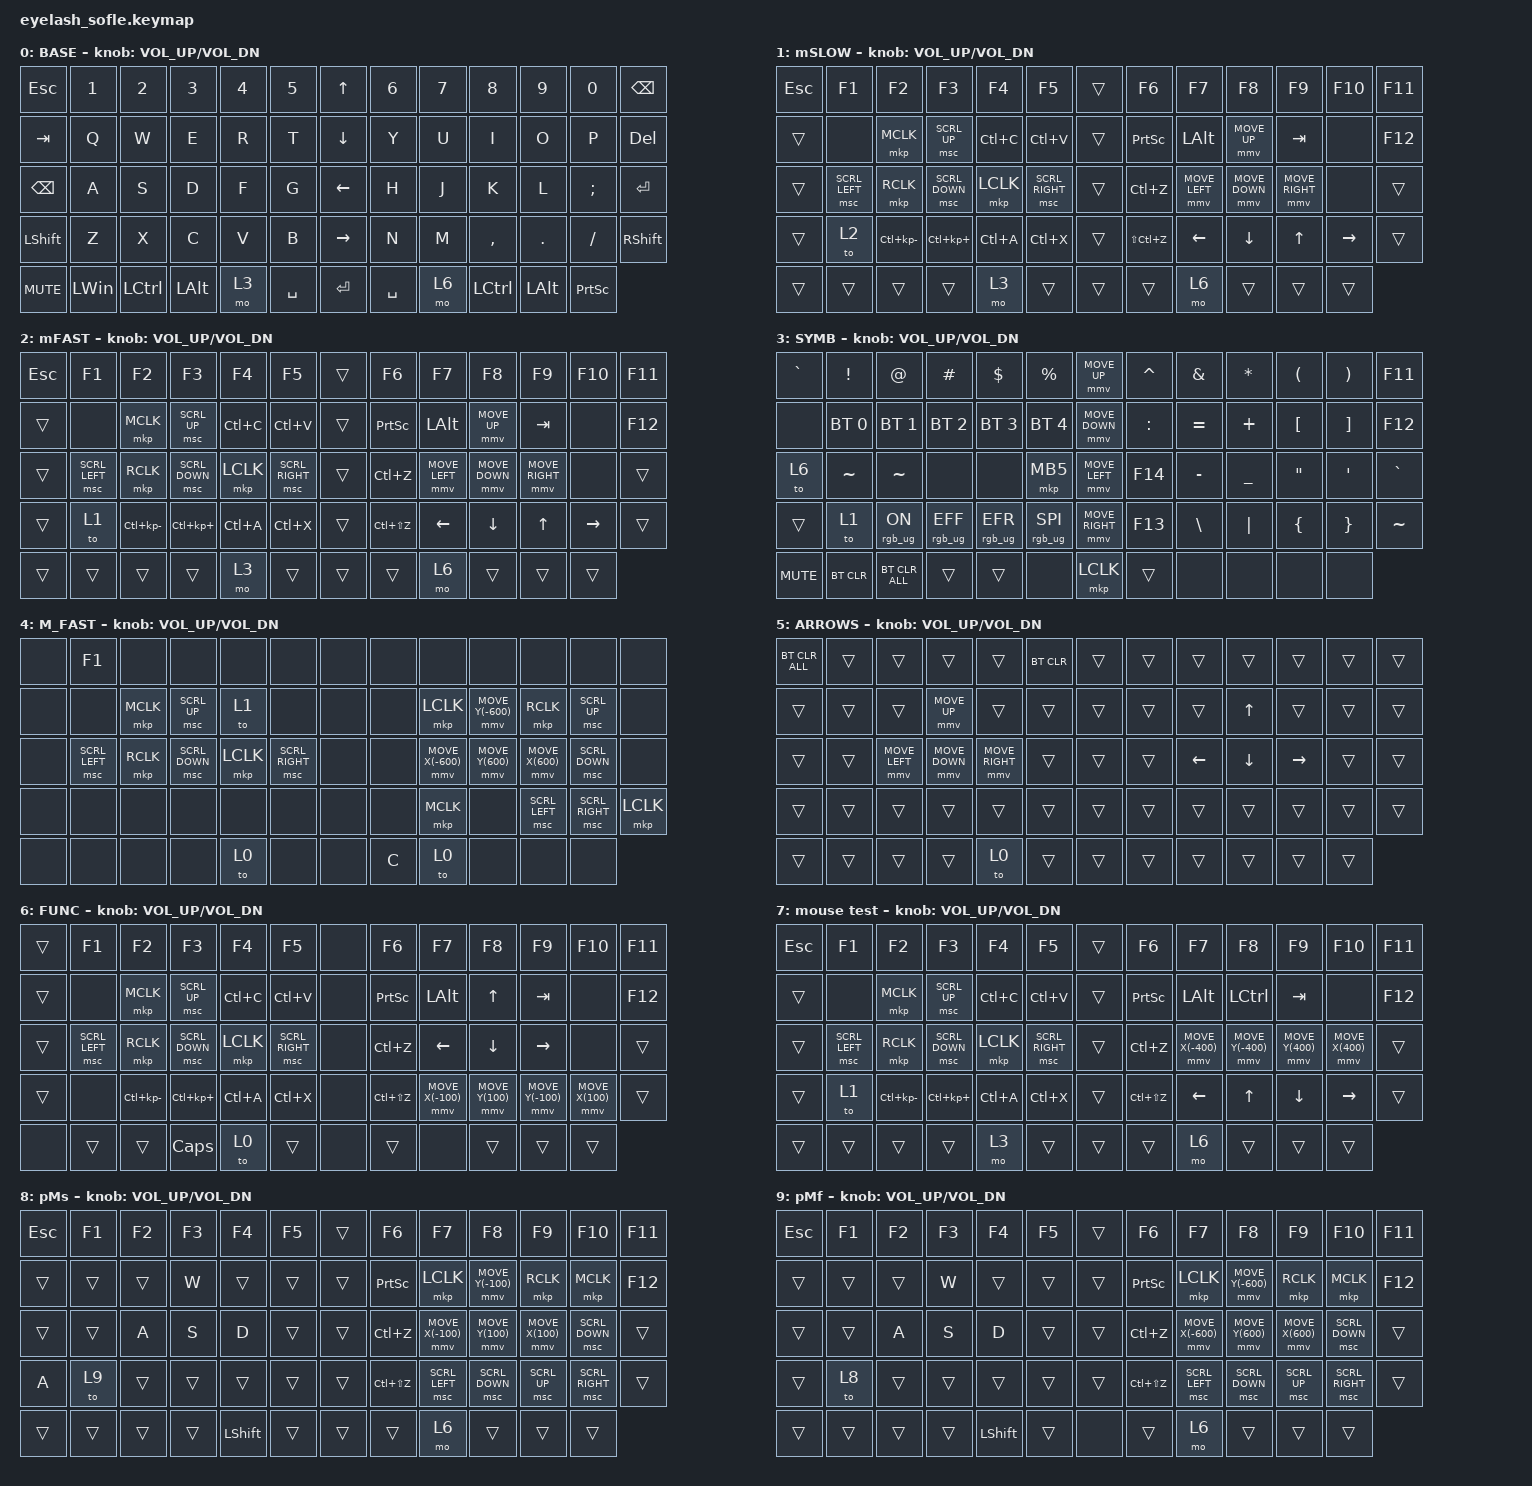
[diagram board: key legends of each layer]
#define ZMK_POINTING_DEFAULT_MOVE_VAL 1200  // 600
#define ZMK_POINTING_DEFAULT_SCRL_VAL 35    // 10

#include <input/processors.dtsi>
#include <zephyr/dt-bindings/input/input-event-codes.h>
#include <behaviors.dtsi>
#include <dt-bindings/zmk/bt.h>
#include <dt-bindings/zmk/keys.h>
#include <dt-bindings/zmk/pointing.h>
#include <dt-bindings/zmk/rgb.h>

/ {
    zip_scroll_scaler: zip_scroll_scaler {
        compatible = "zmk,input-processor-scaler";
        #input-processor-cells = <2>;
        type = <INPUT_EV_REL>;
        codes = <INPUT_REL_WHEEL INPUT_REL_HWHEEL>;
        track-remainders;
    };
};

&mmv_input_listener {
    /* 레이어 1, 8일 때는 1/5로 줄여라! */

    layer_slow {
        layers = <1 8>;
        input-processors = <&zip_xy_scaler 1 5>;
    };

    /* 레이어 2, 9일 때는 3/2(1.5배)로 늘려라! */

    layer_fast {
        layers = <2 9>;
        input-processors = <&zip_xy_scaler 3 2>;
    };
};

&msc_input_listener { input-processors = <&zip_scroll_scaler 1 1>; };

&msc {
    acceleration-exponent = <2>;      // 0
    time-to-max-speed-ms = <50>;       // 300
    delay-ms = <0>;                   // 0
};

&mmv {
    time-to-max-speed-ms = <0>;
    acceleration-exponent = <2>;
};

/ {
    scroll_encoder: scroll_encoder {
        compatible = "zmk,behavior-sensor-rotate";
        #sensor-binding-cells = <0>;
        bindings = <&msc SCRL_DOWN>, <&msc SCRL_UP>;

        tap-ms = <30>;
    };

    behaviors {
        /*han_eng_mo3: behavior_macro {
            label = "한/영 + MO3";
            compatible = "zmk,behavior-macro";
            #binding-cells = <0>;
    
            bindings = <
                &macro_tap
                    &forceeng        // forceeng 매크로 실행
                &macro_press
                    &mo 3            // 키를 누르는 동안 layer 3 활성화
                &macro_release
                    &to 0    // 떼면 layer 3 비활성화
            >;
        };*/

        han_eng_mo3_2: behavior_macro {
            compatible = "zmk,behavior-macro";
            #binding-cells = <0>;
            bindings = <&forceeng &mo 3>;
            tap-ms = <0>;
        };
    };

    combos {
        compatible = "zmk,combos";

        zge {
            bindings = <&to 1>;
            key-positions = <40 28>;
            layers = <0>;
            timeout-ms = <65>;
        };

        ragekl {
            bindings = <&to 0>;
            key-positions = <40 28>;
            layers = <1 2 5>;
            timeout-ms = <65>;
        };

        copyofbir {
            bindings = <&kp RIGHT_ALT>;
            key-positions = <36 50>;
            timeout-ms = <65>;
        };

        rev {
            bindings = <&kp RIGHT_ALT>;
            key-positions = <36 50>;
            timeout-ms = <65>;
        };

        testimz {
            bindings = <&to 1>;
            key-positions = <40 56>;
            timeout-ms = <65>;
            layers = <0>;
        };

        testim2 {
            bindings = <&to 0>;
            key-positions = <40 56>;
            timeout-ms = <65>;
            layers = <1 2 5>;
        };

        hanyung {
            bindings = <&kp RIGHT_ALT>;
            key-positions = <59 51>;
        };

        hy {
            bindings = <&kp RIGHT_ALT>;
            key-positions = <56 39>;
        };

        hy2 {
            bindings = <&kp RIGHT_ALT>;
            key-positions = <39 57>;
        };

        hanyung2 {
            bindings = <&kp RIGHT_ALT>;
            key-positions = <51 60>;
        };

        utale {
            bindings = <&to 8>;
            key-positions = <40 28 29>;
            layers = <0>;
        };

        tester {
            bindings = <&to 0>;
            key-positions = <40 28 29>;
            layers = <8 9>;
        };

        dot2 {
            bindings = <&kp F16>;
            key-positions = <49 50>;
        };

        random {
            bindings = <&to 1>;
            key-positions = <40 28>;
            layers = <8 9>;
        };

        mnot {
            bindings = <&to 8>;
            key-positions = <40 28 29>;
            layers = <1 2>;
        };
    };

    macros {
        zoomIn: new_macro {
            compatible = "zmk,behavior-macro";
            #binding-cells = <0>;
            bindings = <&kp LEFT_CONTROL &kp PLUS>;
            label = "NEW_MACRO";
        };

        zoomOut: zoomOut {
            compatible = "zmk,behavior-macro";
            #binding-cells = <0>;
            bindings = <&kp LEFT_CONTROL &kp MINUS>;
            label = "ZOOMOUT";
        };

        copy: copy {
            compatible = "zmk,behavior-macro";
            #binding-cells = <0>;
            bindings = <&kp LEFT_CONTROL &kp C>;
            label = "COPY";
        };

        paste: paste {
            compatible = "zmk,behavior-macro";
            #binding-cells = <0>;
            bindings = <&kp LEFT_CONTROL &kp V>;
            label = "PASTE";
        };

        cut: cut {
            compatible = "zmk,behavior-macro";
            #binding-cells = <0>;
            bindings = <&kp LEFT_CONTROL &kp X>;
            label = "CUT";
        };

        selectAll: selectAll {
            compatible = "zmk,behavior-macro";
            #binding-cells = <0>;
            bindings = <&kp LEFT_CONTROL &kp A>;
            label = "SELECTALL";
        };

        forceeng: forceeng {
            compatible = "zmk,behavior-macro";
            #binding-cells = <0>;
            bindings = <&kp LS(LA(LC(J)))>;
            label = "FORCEENG";
        };
    };

    keymap {
        compatible = "zmk,keymap";

        layer_0 {
            bindings = <
&kp ESC        &kp N1        &kp N2            &kp N3        &kp N4  &kp N5       &kp UP_ARROW     &kp N6     &kp N7  &kp N8            &kp N9        &kp N0           &kp BACKSPACE
&kp TAB        &kp Q         &kp W             &kp E         &kp R   &kp T        &kp DOWN_ARROW   &kp Y      &kp U   &kp I             &kp O         &kp P            &kp DELETE
&kp BACKSPACE  &kp A         &kp S             &kp D         &kp F   &kp G        &kp LEFT_ARROW   &kp H      &kp J   &kp K             &kp L         &kp SEMI         &kp ENTER
&kp LSHFT      &kp Z         &kp X             &kp C         &kp V   &kp B        &kp RIGHT_ARROW  &kp N      &kp M   &kp COMMA         &kp DOT       &kp FSLH         &kp RIGHT_SHIFT
&kp C_MUTE     &kp LEFT_WIN  &kp LEFT_CONTROL  &kp LEFT_ALT  &mo 3   &kp SPACE    &kp ENTER        &kp SPACE  &mo 6   &kp LEFT_CONTROL  &kp LEFT_ALT  &kp PRINTSCREEN
            >;

            sensor-bindings = <&inc_dec_kp C_VOL_UP C_VOL_DN>;
            display-name = "BASE";
        };

        layer_1 {
            bindings = <
&kp ESCAPE  &kp F1          &kp F2            &kp F3           &kp F4     &kp F5             &trans  &kp F6           &kp F7          &kp F8          &kp F9           &kp F10    &kp F11
&trans      &none           &mkp MCLK         &msc SCRL_UP     &kp LC(C)  &kp LC(V)          &trans  &kp PRINTSCREEN  &kp LEFT_ALT    &mmv MOVE_UP    &kp TAB          &none      &kp F12
&trans      &msc SCRL_LEFT  &mkp RCLK         &msc SCRL_DOWN   &mkp LCLK  &msc SCRL_RIGHT    &trans  &kp LC(Z)        &mmv MOVE_LEFT  &mmv MOVE_DOWN  &mmv MOVE_RIGHT  &none      &trans
&trans      &to 2           &kp LC(KP_MINUS)  &kp LC(KP_PLUS)  &kp LC(A)  &kp LC(X)          &trans  &kp LS(LC(Z))    &kp LEFT        &kp DOWN        &kp UP           &kp RIGHT  &trans
&trans      &trans          &trans            &trans           &mo 3      &trans             &trans  &trans           &mo 6           &trans          &trans           &trans
            >;

            display-name = "mSLOW";
            sensor-bindings = <&inc_dec_kp C_VOL_UP C_VOL_DN>;
        };

        layer_2 {
            bindings = <
&kp ESC  &kp F1          &kp F2            &kp F3           &kp F4     &kp F5             &trans  &kp F6           &kp F7          &kp F8          &kp F9           &kp F10    &kp F11
&trans   &none           &mkp MCLK         &msc SCRL_UP     &kp LC(C)  &kp LC(V)          &trans  &kp PRINTSCREEN  &kp LEFT_ALT    &mmv MOVE_UP    &kp TAB          &none      &kp F12
&trans   &msc SCRL_LEFT  &mkp RCLK         &msc SCRL_DOWN   &mkp LCLK  &msc SCRL_RIGHT    &trans  &kp LC(Z)        &mmv MOVE_LEFT  &mmv MOVE_DOWN  &mmv MOVE_RIGHT  &none      &trans
&trans   &to 1           &kp LC(KP_MINUS)  &kp LC(KP_PLUS)  &kp LC(A)  &kp LC(X)          &trans  &kp LC(LS(Z))    &kp LEFT        &kp DOWN        &kp UP           &kp RIGHT  &trans
&trans   &trans          &trans            &trans           &mo 3      &trans             &trans  &trans           &mo 6           &trans          &trans           &trans
            >;

            display-name = "mFAST";
            sensor-bindings = <&inc_dec_kp C_VOL_UP C_VOL_DN>;
        };

        layer_3 {
            bindings = <
&kp GRAVE   &kp EXCLAMATION  &kp AT_SIGN     &kp HASH         &kp DOLLAR       &kp PERCENT        &mmv MOVE_UP     &kp CARET  &kp AMPERSAND  &kp ASTERISK    &kp LEFT_PARENTHESIS  &kp RIGHT_PARENTHESIS  &kp F11
&none       &bt BT_SEL 0     &bt BT_SEL 1    &bt BT_SEL 2     &bt BT_SEL 3     &bt BT_SEL 4       &mmv MOVE_DOWN   &kp COLON  &kp EQUAL      &kp PLUS        &kp LEFT_BRACKET      &kp RIGHT_BRACKET      &kp F12
&to 6       &kp TILDE        &kp TILDE       &none            &none            &mkp MB5           &mmv MOVE_LEFT   &kp F14    &kp MINUS      &kp UNDERSCORE  &kp DOUBLE_QUOTES     &kp SINGLE_QUOTE       &kp GRAVE
&trans      &to 1            &rgb_ug RGB_ON  &rgb_ug RGB_EFF  &rgb_ug RGB_EFR  &rgb_ug RGB_SPI    &mmv MOVE_RIGHT  &kp F13    &kp BACKSLASH  &kp PIPE        &kp LEFT_BRACE        &kp RIGHT_BRACE        &kp TILDE
&kp C_MUTE  &bt BT_CLR       &bt BT_CLR_ALL  &trans           &trans           &none              &mkp LCLK        &trans     &none          &none           &none                 &none
            >;

            display-name = "SYMB";
            sensor-bindings = <&inc_dec_kp C_VOL_UP C_VOL_DN>;
        };

        layer_4 {
            bindings = <
&none  &kp F1          &none      &none           &none      &none              &none  &none  &none              &none              &none             &none            &none
&none  &none           &mkp MCLK  &msc SCRL_UP    &to 1      &none              &none  &none  &mkp LCLK          &mmv MOVE_Y(-600)  &mkp RCLK         &msc SCRL_UP     &none
&none  &msc SCRL_LEFT  &mkp RCLK  &msc SCRL_DOWN  &mkp LCLK  &msc SCRL_RIGHT    &none  &none  &mmv MOVE_X(-600)  &mmv MOVE_Y(600)   &mmv MOVE_X(600)  &msc SCRL_DOWN   &none
&none  &none           &none      &none           &none      &none              &none  &none  &mkp MCLK          &none              &msc SCRL_LEFT    &msc SCRL_RIGHT  &mkp LCLK
&none  &none           &none      &none           &to 0      &none              &none  &kp C  &to 0              &none              &none             &none
            >;

            display-name = "M_FAST";
            sensor-bindings = <&inc_dec_kp C_VOL_UP C_VOL_DN>;
        };

        layer_5 {
            bindings = <
&bt BT_CLR_ALL  &trans  &trans          &trans          &trans           &bt BT_CLR    &trans  &trans  &trans    &trans    &trans     &trans  &trans
&trans          &trans  &trans          &mmv MOVE_UP    &trans           &trans        &trans  &trans  &trans    &kp UP    &trans     &trans  &trans
&trans          &trans  &mmv MOVE_LEFT  &mmv MOVE_DOWN  &mmv MOVE_RIGHT  &trans        &trans  &trans  &kp LEFT  &kp DOWN  &kp RIGHT  &trans  &trans
&trans          &trans  &trans          &trans          &trans           &trans        &trans  &trans  &trans    &trans    &trans     &trans  &trans
&trans          &trans  &trans          &trans          &to 0            &trans        &trans  &trans  &trans    &trans    &trans     &trans
            >;

            display-name = "ARROWS";
            sensor-bindings = <&inc_dec_kp C_VOL_UP C_VOL_DN>;
        };

        layer_6 {
            bindings = <
&trans  &kp F1          &kp F2            &kp F3           &kp F4     &kp F5             &none  &kp F6           &kp F7             &kp F8            &kp F9             &kp F10           &kp F11
&trans  &none           &mkp MCLK         &msc SCRL_UP     &kp LC(C)  &kp LC(V)          &none  &kp PRINTSCREEN  &kp LEFT_ALT       &kp UP            &kp TAB            &none             &kp F12
&trans  &msc SCRL_LEFT  &mkp RCLK         &msc SCRL_DOWN   &mkp LCLK  &msc SCRL_RIGHT    &none  &kp LC(Z)        &kp LEFT           &kp DOWN          &kp RIGHT          &none             &trans
&trans  &none           &kp LC(KP_MINUS)  &kp LC(KP_PLUS)  &kp LC(A)  &kp LC(X)          &none  &kp LC(LS(Z))    &mmv MOVE_X(-100)  &mmv MOVE_Y(100)  &mmv MOVE_Y(-100)  &mmv MOVE_X(100)  &trans
&none   &trans          &trans            &kp CAPS         &to 0      &trans             &none  &trans           &none              &trans            &trans             &trans
            >;

            label = "FUNC";
            sensor-bindings = <&inc_dec_kp C_VOL_UP C_VOL_DN>;
        };

        layer_7 {
            display-name = "mouse test";
            bindings = <
&kp ESC  &kp F1          &kp F2            &kp F3           &kp F4     &kp F5             &trans  &kp F6           &kp F7             &kp F8             &kp F9            &kp F10           &kp F11
&trans   &none           &mkp MCLK         &msc SCRL_UP     &kp LC(C)  &kp LC(V)          &trans  &kp PRINTSCREEN  &kp LEFT_ALT       &kp LEFT_CONTROL   &kp TAB           &none             &kp F12
&trans   &msc SCRL_LEFT  &mkp RCLK         &msc SCRL_DOWN   &mkp LCLK  &msc SCRL_RIGHT    &trans  &kp LC(Z)        &mmv MOVE_X(-400)  &mmv MOVE_Y(-400)  &mmv MOVE_Y(400)  &mmv MOVE_X(400)  &trans
&trans   &to 1           &kp LC(KP_MINUS)  &kp LC(KP_PLUS)  &kp LC(A)  &kp LC(X)          &trans  &kp LC(LS(Z))    &kp LEFT           &kp UP             &kp DOWN          &kp RIGHT         &trans
&trans   &trans          &trans            &trans           &mo 3      &trans             &trans  &trans           &mo 6              &trans             &trans            &trans
            >;

            sensor-bindings = <&inc_dec_kp C_VOL_UP C_VOL_DN>;
        };

        layer_8 {
            display-name = "pMs";
            bindings = <
&kp ESC  &kp F1  &kp F2  &kp F3  &kp F4          &kp F5    &trans  &kp F6           &kp F7             &kp F8             &kp F9            &kp F10          &kp F11
&trans   &trans  &trans  &kp W   &trans          &trans    &trans  &kp PRINTSCREEN  &mkp LCLK          &mmv MOVE_Y(-100)  &mkp RCLK         &mkp MCLK        &kp F12
&trans   &trans  &kp A   &kp S   &kp D           &trans    &trans  &kp LC(Z)        &mmv MOVE_X(-100)  &mmv MOVE_Y(100)   &mmv MOVE_X(100)  &msc SCRL_DOWN   &trans
&kp A    &to 9   &trans  &trans  &trans          &trans    &trans  &kp LC(LS(Z))    &msc SCRL_LEFT     &msc SCRL_DOWN     &msc SCRL_UP      &msc SCRL_RIGHT  &trans
&trans   &trans  &trans  &trans  &kp LEFT_SHIFT  &trans    &trans  &trans           &mo 6              &trans             &trans            &trans
            >;

            sensor-bindings = <&inc_dec_kp C_VOL_UP C_VOL_DN>;
        };

        layer_9 {
            display-name = "pMf";
            bindings = <
&kp ESC  &kp F1  &kp F2  &kp F3  &kp F4          &kp F5    &trans  &kp F6           &kp F7             &kp F8             &kp F9            &kp F10          &kp F11
&trans   &trans  &trans  &kp W   &trans          &trans    &trans  &kp PRINTSCREEN  &mkp LCLK          &mmv MOVE_Y(-600)  &mkp RCLK         &mkp MCLK        &kp F12
&trans   &trans  &kp A   &kp S   &kp D           &trans    &trans  &kp LC(Z)        &mmv MOVE_X(-600)  &mmv MOVE_Y(600)   &mmv MOVE_X(600)  &msc SCRL_DOWN   &trans
&trans   &to 8   &trans  &trans  &trans          &trans    &trans  &kp LC(LS(Z))    &msc SCRL_LEFT     &msc SCRL_DOWN     &msc SCRL_UP      &msc SCRL_RIGHT  &trans
&trans   &trans  &trans  &trans  &kp LEFT_SHIFT  &trans    &none   &trans           &mo 6              &trans             &trans            &trans
            >;

            sensor-bindings = <&inc_dec_kp C_VOL_UP C_VOL_DN>;
        };
    };
};
